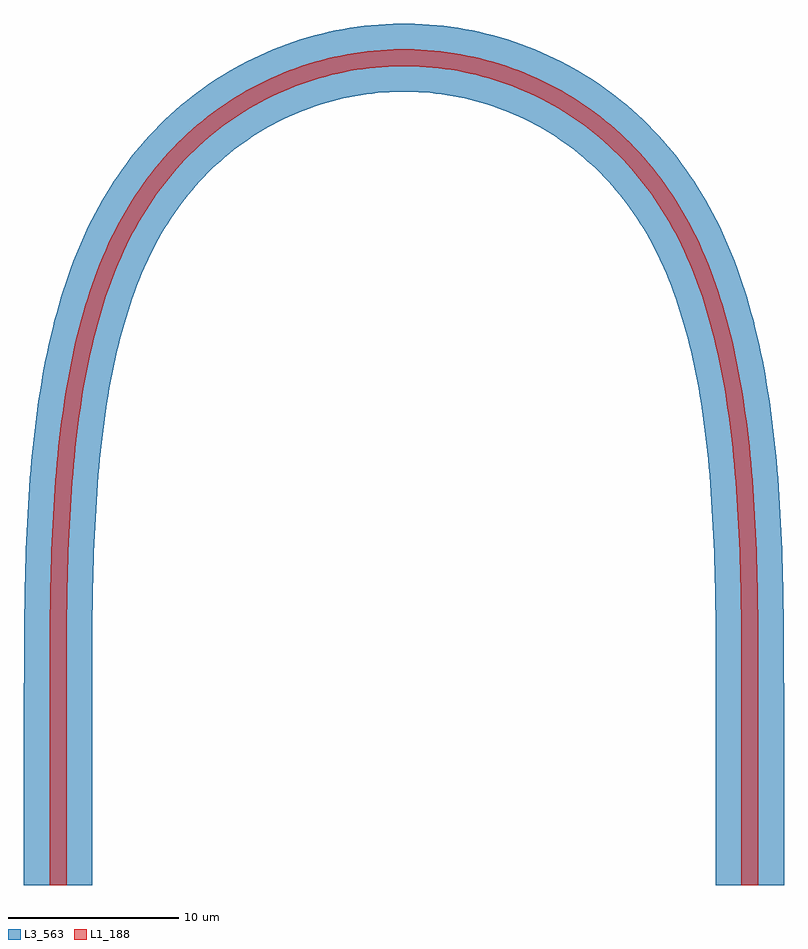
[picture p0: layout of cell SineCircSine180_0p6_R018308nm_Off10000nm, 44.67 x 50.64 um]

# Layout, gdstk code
import gdstk
lib = gdstk.Library(unit=1e-6, precision=1e-09)
L1_188 = (1, 188)
L3_563 = (3, 563)

sinecircsine180_0p6_r018 = lib.new_cell('SineCircSine180_0p6_R018308nm_Off10000nm')
sinecircsine180_0p6_r018.add(gdstk.FlexPath([(-20.335,-30.335),(-20.335,-20.335),(-20.335,-19.793),(-20.335,-19.251),(-20.335,-18.709),(-20.334,-18.167),(-20.333,-17.626),(-20.331,-17.086),(-20.328,-16.546),(-20.325,-16.007),(-20.321,-15.469),(-20.315,-14.932),(-20.309,-14.396),(-20.301,-13.862),(-20.292,-13.329),(-20.281,-12.797),(-20.269,-12.268),(-20.254,-11.74),(-20.238,-11.213),(-20.22,-10.689),(-20.2,-10.167),(-20.178,-9.647),(-20.153,-9.129),(-20.126,-8.614),(-20.097,-8.101),(-20.064,-7.591),(-20.03,-7.084),(-19.992,-6.579),(-19.951,-6.078),(-19.907,-5.579),(-19.86,-5.084),(-19.81,-4.592),(-19.757,-4.103),(-19.7,-3.618),(-19.64,-3.136),(-19.576,-2.658),(-19.508,-2.183),(-19.436,-1.712),(-19.361,-1.245),(-19.281,-0.783),(-19.198,-0.324),(-19.11,0.131),(-19.018,0.581),(-18.922,1.027),(-18.822,1.469),(-18.717,1.906),(-18.607,2.339),(-18.493,2.767),(-18.375,3.191),(-18.251,3.61),(-18.123,4.024),(-17.99,4.433),(-17.852,4.837),(-17.709,5.236),(-17.561,5.631),(-17.407,6.02),(-17.249,6.404),(-17.086,6.783),(-16.917,7.156),(-16.743,7.524),(-16.564,7.887),(-16.379,8.245),(-16.189,8.597),(-15.994,8.944),(-15.793,9.285),(-15.586,9.621),(-15.374,9.951),(-15.157,10.276),(-14.933,10.595),(-14.705,10.909),(-14.47,11.217),(-14.23,11.519),(-13.985,11.816),(-13.734,12.107),(-13.477,12.392),(-13.214,12.672),(-12.946,12.946),(-12.672,13.214),(-12.392,13.476),(-12.107,13.733),(-11.817,13.984),(-11.522,14.228),(-11.221,14.466),(-10.916,14.698),(-10.605,14.923),(-10.291,15.142),(-9.971,15.354),(-9.648,15.56),(-9.32,15.758),(-8.987,15.95),(-8.651,16.135),(-8.312,16.313),(-7.968,16.483),(-7.621,16.646),(-7.271,16.802),(-6.918,16.951),(-6.561,17.092),(-6.202,17.226),(-5.84,17.352),(-5.475,17.47),(-5.108,17.581),(-4.738,17.684),(-4.367,17.78),(-3.994,17.867),(-3.619,17.947),(-3.242,18.019),(-2.864,18.083),(-2.485,18.139),(-2.104,18.187),(-1.723,18.227),(-1.341,18.259),(-0.958,18.283),(-0.575,18.299),(-0.192,18.307),(0.192,18.307),(0.575,18.299),(0.958,18.283),(1.341,18.259),(1.723,18.227),(2.104,18.187),(2.485,18.139),(2.864,18.083),(3.242,18.019),(3.619,17.947),(3.994,17.867),(4.367,17.78),(4.738,17.684),(5.108,17.581),(5.475,17.47),(5.84,17.352),(6.202,17.226),(6.561,17.092),(6.918,16.951),(7.271,16.802),(7.621,16.646),(7.968,16.483),(8.312,16.313),(8.651,16.135),(8.987,15.95),(9.32,15.758),(9.648,15.56),(9.971,15.354),(10.291,15.142),(10.605,14.923),(10.916,14.698),(11.221,14.466),(11.522,14.228),(11.817,13.984),(12.107,13.733),(12.392,13.476),(12.672,13.214),(12.946,12.946),(13.214,12.672),(13.477,12.392),(13.734,12.107),(13.985,11.816),(14.23,11.519),(14.47,11.217),(14.705,10.909),(14.933,10.595),(15.157,10.276),(15.374,9.951),(15.586,9.621),(15.793,9.285),(15.994,8.944),(16.189,8.597),(16.379,8.245),(16.564,7.887),(16.743,7.524),(16.917,7.156),(17.086,6.783),(17.249,6.404),(17.407,6.02),(17.561,5.631),(17.709,5.236),(17.852,4.837),(17.99,4.433),(18.123,4.024),(18.251,3.61),(18.375,3.191),(18.493,2.767),(18.607,2.339),(18.717,1.906),(18.822,1.469),(18.922,1.027),(19.018,0.581),(19.11,0.131),(19.198,-0.324),(19.281,-0.783),(19.361,-1.245),(19.436,-1.712),(19.508,-2.183),(19.576,-2.658),(19.64,-3.136),(19.7,-3.618),(19.757,-4.103),(19.81,-4.592),(19.86,-5.084),(19.907,-5.579),(19.951,-6.078),(19.992,-6.579),(20.03,-7.084),(20.064,-7.591),(20.097,-8.101),(20.126,-8.614),(20.153,-9.129),(20.178,-9.647),(20.2,-10.167),(20.22,-10.689),(20.238,-11.213),(20.254,-11.74),(20.269,-12.268),(20.281,-12.797),(20.292,-13.329),(20.301,-13.862),(20.309,-14.396),(20.315,-14.932),(20.321,-15.469),(20.325,-16.007),(20.328,-16.546),(20.331,-17.086),(20.333,-17.626),(20.334,-18.167),(20.335,-18.709),(20.335,-19.251),(20.335,-19.793),(20.335,-20.335),(20.335,-30.335)], 1, ends="flush", simple_path=True, layer=1, datatype=188))  # L1_188
sinecircsine180_0p6_r018.add(gdstk.FlexPath([(-20.335,-30.335),(-20.335,-20.335),(-20.335,-19.793),(-20.335,-19.251),(-20.335,-18.709),(-20.334,-18.167),(-20.333,-17.626),(-20.331,-17.086),(-20.328,-16.546),(-20.325,-16.007),(-20.321,-15.469),(-20.315,-14.932),(-20.309,-14.396),(-20.301,-13.862),(-20.292,-13.329),(-20.281,-12.797),(-20.269,-12.268),(-20.254,-11.74),(-20.238,-11.213),(-20.22,-10.689),(-20.2,-10.167),(-20.178,-9.647),(-20.153,-9.129),(-20.126,-8.614),(-20.097,-8.101),(-20.064,-7.591),(-20.03,-7.084),(-19.992,-6.579),(-19.951,-6.078),(-19.907,-5.579),(-19.86,-5.084),(-19.81,-4.592),(-19.757,-4.103),(-19.7,-3.618),(-19.64,-3.136),(-19.576,-2.658),(-19.508,-2.183),(-19.436,-1.712),(-19.361,-1.245),(-19.281,-0.783),(-19.198,-0.324),(-19.11,0.131),(-19.018,0.581),(-18.922,1.027),(-18.822,1.469),(-18.717,1.906),(-18.607,2.339),(-18.493,2.767),(-18.375,3.191),(-18.251,3.61),(-18.123,4.024),(-17.99,4.433),(-17.852,4.837),(-17.709,5.236),(-17.561,5.631),(-17.407,6.02),(-17.249,6.404),(-17.086,6.783),(-16.917,7.156),(-16.743,7.524),(-16.564,7.887),(-16.379,8.245),(-16.189,8.597),(-15.994,8.944),(-15.793,9.285),(-15.586,9.621),(-15.374,9.951),(-15.157,10.276),(-14.933,10.595),(-14.705,10.909),(-14.47,11.217),(-14.23,11.519),(-13.985,11.816),(-13.734,12.107),(-13.477,12.392),(-13.214,12.672),(-12.946,12.946),(-12.672,13.214),(-12.392,13.476),(-12.107,13.733),(-11.817,13.984),(-11.522,14.228),(-11.221,14.466),(-10.916,14.698),(-10.605,14.923),(-10.291,15.142),(-9.971,15.354),(-9.648,15.56),(-9.32,15.758),(-8.987,15.95),(-8.651,16.135),(-8.312,16.313),(-7.968,16.483),(-7.621,16.646),(-7.271,16.802),(-6.918,16.951),(-6.561,17.092),(-6.202,17.226),(-5.84,17.352),(-5.475,17.47),(-5.108,17.581),(-4.738,17.684),(-4.367,17.78),(-3.994,17.867),(-3.619,17.947),(-3.242,18.019),(-2.864,18.083),(-2.485,18.139),(-2.104,18.187),(-1.723,18.227),(-1.341,18.259),(-0.958,18.283),(-0.575,18.299),(-0.192,18.307),(0.192,18.307),(0.575,18.299),(0.958,18.283),(1.341,18.259),(1.723,18.227),(2.104,18.187),(2.485,18.139),(2.864,18.083),(3.242,18.019),(3.619,17.947),(3.994,17.867),(4.367,17.78),(4.738,17.684),(5.108,17.581),(5.475,17.47),(5.84,17.352),(6.202,17.226),(6.561,17.092),(6.918,16.951),(7.271,16.802),(7.621,16.646),(7.968,16.483),(8.312,16.313),(8.651,16.135),(8.987,15.95),(9.32,15.758),(9.648,15.56),(9.971,15.354),(10.291,15.142),(10.605,14.923),(10.916,14.698),(11.221,14.466),(11.522,14.228),(11.817,13.984),(12.107,13.733),(12.392,13.476),(12.672,13.214),(12.946,12.946),(13.214,12.672),(13.477,12.392),(13.734,12.107),(13.985,11.816),(14.23,11.519),(14.47,11.217),(14.705,10.909),(14.933,10.595),(15.157,10.276),(15.374,9.951),(15.586,9.621),(15.793,9.285),(15.994,8.944),(16.189,8.597),(16.379,8.245),(16.564,7.887),(16.743,7.524),(16.917,7.156),(17.086,6.783),(17.249,6.404),(17.407,6.02),(17.561,5.631),(17.709,5.236),(17.852,4.837),(17.99,4.433),(18.123,4.024),(18.251,3.61),(18.375,3.191),(18.493,2.767),(18.607,2.339),(18.717,1.906),(18.822,1.469),(18.922,1.027),(19.018,0.581),(19.11,0.131),(19.198,-0.324),(19.281,-0.783),(19.361,-1.245),(19.436,-1.712),(19.508,-2.183),(19.576,-2.658),(19.64,-3.136),(19.7,-3.618),(19.757,-4.103),(19.81,-4.592),(19.86,-5.084),(19.907,-5.579),(19.951,-6.078),(19.992,-6.579),(20.03,-7.084),(20.064,-7.591),(20.097,-8.101),(20.126,-8.614),(20.153,-9.129),(20.178,-9.647),(20.2,-10.167),(20.22,-10.689),(20.238,-11.213),(20.254,-11.74),(20.269,-12.268),(20.281,-12.797),(20.292,-13.329),(20.301,-13.862),(20.309,-14.396),(20.315,-14.932),(20.321,-15.469),(20.325,-16.007),(20.328,-16.546),(20.331,-17.086),(20.333,-17.626),(20.334,-18.167),(20.335,-18.709),(20.335,-19.251),(20.335,-19.793),(20.335,-20.335),(20.335,-30.335)], 4, ends="flush", simple_path=True, layer=3, datatype=563))  # L3_563

lib.write_gds('SineCircSine180_0p6_R018308nm_Off10000nm.gds')
